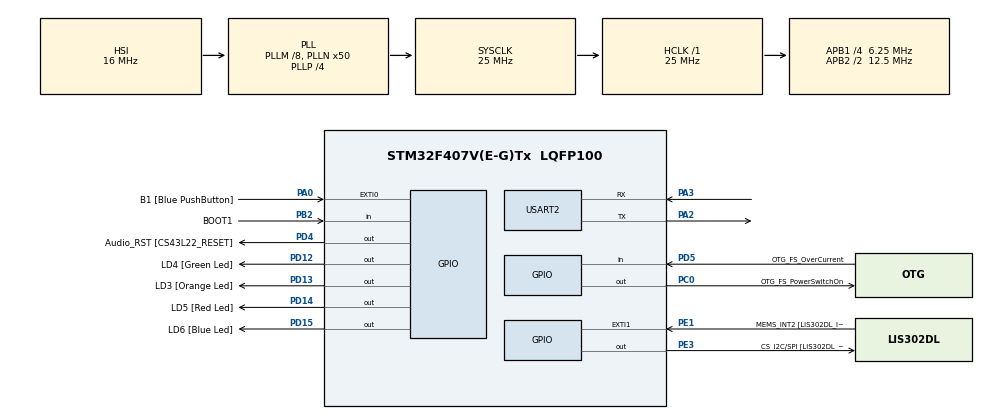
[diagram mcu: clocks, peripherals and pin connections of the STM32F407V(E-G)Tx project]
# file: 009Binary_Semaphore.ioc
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Mcu.Family=STM32F4
Mcu.Name=STM32F407V(E-G)Tx
Mcu.Package=LQFP100
NVIC.PriorityGroup=NVIC_PRIORITYGROUP_4
NVIC.TIM6_DAC_IRQn=true\:0\:0\:false\:false\:true\:false\:true\:true
NVIC.TimeBase=TIM6_DAC_IRQn
NVIC.TimeBaseIP=TIM6
PA0-WKUP.GPIO_Label=B1 [Blue PushButton]
PA0-WKUP.Signal=GPXTI0
PA10.GPIO_Label=OTG_FS_ID
PA10.GPIO_Mode=GPIO_MODE_AF_PP
PA10.GPIO_PuPd=GPIO_NOPULL
PA10.GPIO_Speed=GPIO_SPEED_FREQ_LOW
PA10.Signal=USB_OTG_FS_ID
PA11.GPIO_Label=OTG_FS_DM
PA11.GPIO_Mode=GPIO_MODE_AF_PP
PA11.GPIO_PuPd=GPIO_NOPULL
PA11.GPIO_Speed=GPIO_SPEED_FREQ_LOW
PA11.Signal=USB_OTG_FS_DM
PA12.GPIO_Label=OTG_FS_DP
PA12.GPIO_Mode=GPIO_MODE_AF_PP
PA12.GPIO_PuPd=GPIO_NOPULL
PA12.GPIO_Speed=GPIO_SPEED_FREQ_LOW
PA12.Signal=USB_OTG_FS_DP
PA13.GPIO_Label=SWDIO
PA13.Signal=SYS_JTMS-SWDIO
PA14.GPIO_Label=SWCLK
PA14.Signal=SYS_JTCK-SWCLK
PA2.Mode=Asynchronous
PA2.Signal=USART2_TX
PA3.Mode=Asynchronous
PA3.Signal=USART2_RX
PA4.GPIO_Label=I2S3_WS [CS43L22_LRCK]
PA4.GPIO_Mode=GPIO_MODE_AF_PP
PA4.GPIO_PuPd=GPIO_NOPULL
PA4.GPIO_Speed=GPIO_SPEED_FREQ_LOW
PA4.Signal=I2S3_WS
PA5.GPIO_Label=SPI1_SCK [LIS302DL_SCL/SPC]
PA5.GPIO_Mode=GPIO_MODE_AF_PP
PA5.GPIO_PuPd=GPIO_NOPULL
PA5.GPIO_Speed=GPIO_SPEED_FREQ_LOW
PA5.Signal=SPI1_SCK
PA6.GPIO_Label=SPI1_MISO [LIS302DL_SDO]
PA6.GPIO_Mode=GPIO_MODE_AF_PP
PA6.GPIO_PuPd=GPIO_NOPULL
PA6.GPIO_Speed=GPIO_SPEED_FREQ_LOW
PA6.Signal=SPI1_MISO
PA7.GPIO_Label=SPI1_MOSI [LIS302DL_SDA/SDI/SDO]
PA7.GPIO_Mode=GPIO_MODE_AF_PP
PA7.GPIO_PuPd=GPIO_NOPULL
PA7.GPIO_Speed=GPIO_SPEED_FREQ_LOW
PA7.Signal=SPI1_MOSI
PA9.GPIO_Label=VBUS_FS
PA9.GPIO_Mode=GPIO_MODE_INPUT
PA9.GPIO_PuPd=GPIO_NOPULL
PA9.Signal=USB_OTG_FS_VBUS
PB10.GPIO_Label=CLK_IN [MP45DT02_CLK]
PB10.GPIO_Mode=GPIO_MODE_AF_PP
PB10.GPIO_PuPd=GPIO_NOPULL
PB10.GPIO_Speed=GPIO_SPEED_FREQ_LOW
PB10.Signal=I2S2_CK
PB2.GPIO_Label=BOOT1
PB2.GPIO_Mode=GPIO_MODE_INPUT
PB2.GPIO_PuPd=GPIO_NOPULL
PB2.Signal=GPIO_Input
PB3.GPIO_Label=SWO
PB3.Signal=SYS_JTDO-SWO
PB6.GPIO_Label=Audio_SCL [CS43L22_SCL]
PB6.GPIO_Mode=GPIO_MODE_AF_OD
PB6.GPIO_PuPd=GPIO_NOPULL
PB6.GPIO_Speed=GPIO_SPEED_FREQ_LOW
PB6.Signal=I2C1_SCL
PB9.GPIO_Label=Audio_SDA [CS43L22_SDA]
PB9.GPIO_Mode=GPIO_MODE_AF_OD
PB9.GPIO_PuPd=GPIO_NOPULL
PB9.GPIO_Speed=GPIO_SPEED_FREQ_LOW
PB9.Signal=I2C1_SDA
PC0.GPIO_Label=OTG_FS_PowerSwitchOn
PC0.GPIO_PuPd=GPIO_NOPULL
PC0.GPIO_Speed=GPIO_SPEED_FREQ_LOW
PC0.PinState=GPIO_PIN_SET
PC0.Signal=GPIO_Output
PC10.GPIO_Label=I2S3_SCK [CS43L22_SCLK]
PC10.GPIO_Mode=GPIO_MODE_AF_PP
PC10.GPIO_PuPd=GPIO_NOPULL
PC10.GPIO_Speed=GPIO_SPEED_FREQ_LOW
PC10.Signal=I2S3_CK
PC12.GPIO_Label=I2S3_SD [CS43L22_SDIN]
PC12.GPIO_Mode=GPIO_MODE_AF_PP
PC12.GPIO_PuPd=GPIO_NOPULL
PC12.GPIO_Speed=GPIO_SPEED_FREQ_LOW
PC12.Signal=I2S3_SD
PC14-OSC32_IN.GPIO_Label=PC14-OSC32_IN
PC14-OSC32_IN.Signal=RCC_OSC32_IN
PC15-OSC32_OUT.GPIO_Label=PC15-OSC32_OUT
PC15-OSC32_OUT.Signal=RCC_OSC32_OUT
PC3.GPIO_Label=PDM_OUT [MP45DT02_DOUT]
PC3.GPIO_Mode=GPIO_MODE_AF_PP
PC3.GPIO_PuPd=GPIO_NOPULL
PC3.GPIO_Speed=GPIO_SPEED_FREQ_LOW
PC3.Signal=I2S2_SD
PC7.GPIO_Label=I2S3_MCK [CS43L22_MCLK]
PC7.GPIO_Mode=GPIO_MODE_AF_PP
PC7.GPIO_PuPd=GPIO_NOPULL
PC7.GPIO_Speed=GPIO_SPEED_FREQ_LOW
PC7.Signal=I2S3_MCK
PD12.GPIO_Label=LD4 [Green Led]
PD12.GPIO_PuPd=GPIO_NOPULL
PD12.GPIO_Speed=GPIO_SPEED_FREQ_LOW
PD12.Signal=GPIO_Output
PD13.GPIO_Label=LD3 [Orange Led]
PD13.GPIO_PuPd=GPIO_NOPULL
PD13.GPIO_Speed=GPIO_SPEED_FREQ_LOW
PD13.Signal=GPIO_Output
PD14.GPIO_Label=LD5 [Red Led]
PD14.GPIO_PuPd=GPIO_NOPULL
PD14.GPIO_Speed=GPIO_SPEED_FREQ_LOW
PD14.Signal=GPIO_Output
PD15.GPIO_Label=LD6 [Blue Led]
PD15.GPIO_PuPd=GPIO_NOPULL
PD15.GPIO_Speed=GPIO_SPEED_FREQ_LOW
PD15.Signal=GPIO_Output
PD4.GPIO_Label=Audio_RST [CS43L22_RESET]
PD4.GPIO_PuPd=GPIO_NOPULL
PD4.GPIO_Speed=GPIO_SPEED_FREQ_LOW
PD4.Signal=GPIO_Output
PD5.GPIO_Label=OTG_FS_OverCurrent
PD5.GPIO_Mode=GPIO_MODE_INPUT
PD5.GPIO_PuPd=GPIO_NOPULL
PD5.Signal=GPIO_Input
PE1.GPIO_Label=MEMS_INT2 [LIS302DL_INT2]
PE1.GPIO_ModeDefaultEXTI=GPIO_MODE_EVT_RISING
PE1.GPIO_PuPd=GPIO_NOPULL
PE1.Signal=GPXTI1
PE3.GPIO_Label=CS_I2C/SPI [LIS302DL_CS_I2C/SPI]
PE3.GPIO_PuPd=GPIO_NOPULL
PE3.GPIO_Speed=GPIO_SPEED_FREQ_LOW
PE3.Signal=GPIO_Output
PH0-OSC_IN.GPIO_Label=PH0-OSC_IN
PH0-OSC_IN.Signal=RCC_OSC_IN
PH1-OSC_OUT.GPIO_Label=PH1-OSC_OUT
PH1-OSC_OUT.Signal=RCC_OSC_OUT
ProjectManager.HeapSize=0x200
ProjectManager.StackSize=0x400
ProjectManager.TargetToolchain=STM32CubeIDE
RCC.48MHZClocksFreq_Value=14285714.285714285
RCC.AHBFreq_Value=25000000
RCC.APB1CLKDivider=RCC_HCLK_DIV4
RCC.APB1Freq_Value=6250000
RCC.APB1TimFreq_Value=12500000
RCC.APB2CLKDivider=RCC_HCLK_DIV2
RCC.APB2Freq_Value=12500000
RCC.APB2TimFreq_Value=25000000
RCC.CortexFreq_Value=25000000
RCC.HCLKFreq_Value=25000000
RCC.HSE_VALUE=8000000
RCC.HSI_VALUE=16000000
RCC.LSE_VALUE=32768
RCC.PLLM=8
RCC.PLLN=50
RCC.PLLP=RCC_PLLP_DIV4
RCC.PLLQ=7
RCC.SYSCLKFreq_VALUE=25000000
RCC.SYSCLKSource=RCC_SYSCLKSOURCE_PLLCLK
RCC.VCOOutputFreq_Value=100000000
USART2.VirtualMode=VM_ASYNC
VP_SYS_VS_tim6.Mode=TIM6
board=STM32F407G-DISC1

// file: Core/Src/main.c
/* USER CODE BEGIN Header */
/**
  ******************************************************************************
  * @file           : main.c
  * @brief          : Main program body
  ******************************************************************************
  * @attention
  *
  * Copyright (c) 2024 STMicroelectronics.
  * All rights reserved.
  *
  * This software is licensed under terms that can be found in the LICENSE file
  * in the root directory of this software component.
  * If no LICENSE file comes with this software, it is provided AS-IS.
  *
  ******************************************************************************
  */
/* USER CODE END Header */
#include "main.h"

/* USER CODE BEGIN Includes */
#include "FreeRTOS.h"
#include "task.h"
#include "semphr.h"
#include <stdio.h>
#include "string.h"
/* USER CODE END Includes */

UART_HandleTypeDef huart2;

void SystemClock_Config(void);
static void MX_GPIO_Init(void);
static void MX_USART2_UART_Init(void);
/* USER CODE BEGIN PFP */

static void Task_2_handler(void* parameters);

static void Task_1_handler(void* parameters);
/* USER CODE END PFP */

/* USER CODE BEGIN 0 */
TaskHandle_t task1_handle;
TaskHandle_t task2_handle;

xSemaphoreHandle xBinarySemaphore;

/* USER CODE END 0 */

int main(void)
{
  /* USER CODE BEGIN 1 */
	BaseType_t status;

  /* USER CODE END 1 */

  /* MCU Configuration--------------------------------------------------------*/

  /* Reset of all peripherals, Initializes the Flash interface and the Systick. */
  HAL_Init();

  /* Configure the system clock */
  SystemClock_Config();

  /* Initialize all configured peripherals */
  MX_GPIO_Init();
  MX_USART2_UART_Init();
  /* USER CODE BEGIN 2 */

  xBinarySemaphore = xSemaphoreCreateBinary();
  if(xBinarySemaphore != NULL)
  {
//	  char str1="Semaphore Creation succesfull \n";
//	  HAL_UART_Transmit(&huart2, (uint8_t*)str1, strlen(str1), 100);
	  //  task creation
	  status = xTaskCreate(Task_1_handler,
	                  "Task_1",
	                  200,
	                  NULL,
	                  1,
	                  &task1_handle
	                                );

	  	 configASSERT(status == pdPASS);

	  	 status = xTaskCreate(Task_2_handler,
	                    "Task_2",
	                    200,
	                    NULL,
	                    1,
	                    &task2_handle
	                                  );

	  	 configASSERT(status == pdPASS);

	  	 xSemaphoreGive(xBinarySemaphore);

	  	 vTaskStartScheduler();

  }
  else
  {
//	  char str1 = "failed \n";
//	  HAL_UART_Transmit(&huart2, (uint8_t*)str1, strlen(str1), 100);

  }

  /* USER CODE END 2 */

  /* Infinite loop */
  while (1)
  {

  }
}

void SystemClock_Config(void)
{
  RCC_OscInitTypeDef RCC_OscInitStruct = {0};
  RCC_ClkInitTypeDef RCC_ClkInitStruct = {0};

  /** Configure the main internal regulator output voltage
  */
  __HAL_RCC_PWR_CLK_ENABLE();
  __HAL_PWR_VOLTAGESCALING_CONFIG(PWR_REGULATOR_VOLTAGE_SCALE1);

  /** Initializes the RCC Oscillators according to the specified parameters
  * in the RCC_OscInitTypeDef structure.
  */
  RCC_OscInitStruct.OscillatorType = RCC_OSCILLATORTYPE_HSI;
  RCC_OscInitStruct.HSIState = RCC_HSI_ON;
  RCC_OscInitStruct.HSICalibrationValue = RCC_HSICALIBRATION_DEFAULT;
  RCC_OscInitStruct.PLL.PLLState = RCC_PLL_ON;
  RCC_OscInitStruct.PLL.PLLSource = RCC_PLLSOURCE_HSI;
  RCC_OscInitStruct.PLL.PLLM = 8;
  RCC_OscInitStruct.PLL.PLLN = 50;
  RCC_OscInitStruct.PLL.PLLP = RCC_PLLP_DIV4;
  RCC_OscInitStruct.PLL.PLLQ = 7;
  if (HAL_RCC_OscConfig(&RCC_OscInitStruct) != HAL_OK)
  {
    Error_Handler();
  }

  /** Initializes the CPU, AHB and APB buses clocks
  */
  RCC_ClkInitStruct.ClockType = RCC_CLOCKTYPE_HCLK|RCC_CLOCKTYPE_SYSCLK
                              |RCC_CLOCKTYPE_PCLK1|RCC_CLOCKTYPE_PCLK2;
  RCC_ClkInitStruct.SYSCLKSource = RCC_SYSCLKSOURCE_PLLCLK;
  RCC_ClkInitStruct.AHBCLKDivider = RCC_SYSCLK_DIV1;
  RCC_ClkInitStruct.APB1CLKDivider = RCC_HCLK_DIV4;
  RCC_ClkInitStruct.APB2CLKDivider = RCC_HCLK_DIV2;

  if (HAL_RCC_ClockConfig(&RCC_ClkInitStruct, FLASH_LATENCY_0) != HAL_OK)
  {
    Error_Handler();
  }
}

static void MX_USART2_UART_Init(void)
{

  huart2.Instance = USART2;
  huart2.Init.BaudRate = 115200;
  huart2.Init.WordLength = UART_WORDLENGTH_8B;
  huart2.Init.StopBits = UART_STOPBITS_1;
  huart2.Init.Parity = UART_PARITY_NONE;
  huart2.Init.Mode = UART_MODE_TX_RX;
  huart2.Init.HwFlowCtl = UART_HWCONTROL_NONE;
  huart2.Init.OverSampling = UART_OVERSAMPLING_16;
  if (HAL_UART_Init(&huart2) != HAL_OK)
  {
    Error_Handler();
  }

}

static void MX_GPIO_Init(void)
{
  GPIO_InitTypeDef GPIO_InitStruct = {0};

  /* GPIO Ports Clock Enable */
  __HAL_RCC_GPIOE_CLK_ENABLE();
  __HAL_RCC_GPIOC_CLK_ENABLE();
  __HAL_RCC_GPIOH_CLK_ENABLE();
  __HAL_RCC_GPIOA_CLK_ENABLE();
  __HAL_RCC_GPIOB_CLK_ENABLE();
  __HAL_RCC_GPIOD_CLK_ENABLE();

  /*Configure GPIO pin Output Level */
  HAL_GPIO_WritePin(CS_I2C_SPI_GPIO_Port, CS_I2C_SPI_Pin, GPIO_PIN_RESET);

  /*Configure GPIO pin Output Level */
  HAL_GPIO_WritePin(OTG_FS_PowerSwitchOn_GPIO_Port, OTG_FS_PowerSwitchOn_Pin, GPIO_PIN_SET);

  /*Configure GPIO pin Output Level */
  HAL_GPIO_WritePin(GPIOD, LD4_Pin|LD3_Pin|LD5_Pin|LD6_Pin
                          |Audio_RST_Pin, GPIO_PIN_RESET);

  /*Configure GPIO pin : CS_I2C_SPI_Pin */
  GPIO_InitStruct.Pin = CS_I2C_SPI_Pin;
  GPIO_InitStruct.Mode = GPIO_MODE_OUTPUT_PP;
  GPIO_InitStruct.Pull = GPIO_NOPULL;
  GPIO_InitStruct.Speed = GPIO_SPEED_FREQ_LOW;
  HAL_GPIO_Init(CS_I2C_SPI_GPIO_Port, &GPIO_InitStruct);

  /*Configure GPIO pin : OTG_FS_PowerSwitchOn_Pin */
  GPIO_InitStruct.Pin = OTG_FS_PowerSwitchOn_Pin;
  GPIO_InitStruct.Mode = GPIO_MODE_OUTPUT_PP;
  GPIO_InitStruct.Pull = GPIO_NOPULL;
  GPIO_InitStruct.Speed = GPIO_SPEED_FREQ_LOW;
  HAL_GPIO_Init(OTG_FS_PowerSwitchOn_GPIO_Port, &GPIO_InitStruct);

  /*Configure GPIO pin : PDM_OUT_Pin */
  GPIO_InitStruct.Pin = PDM_OUT_Pin;
  GPIO_InitStruct.Mode = GPIO_MODE_AF_PP;
  GPIO_InitStruct.Pull = GPIO_NOPULL;
  GPIO_InitStruct.Speed = GPIO_SPEED_FREQ_LOW;
  GPIO_InitStruct.Alternate = GPIO_AF5_SPI2;
  HAL_GPIO_Init(PDM_OUT_GPIO_Port, &GPIO_InitStruct);

  /*Configure GPIO pin : B1_Pin */
  GPIO_InitStruct.Pin = B1_Pin;
  GPIO_InitStruct.Mode = GPIO_MODE_IT_RISING;
  GPIO_InitStruct.Pull = GPIO_NOPULL;
  HAL_GPIO_Init(B1_GPIO_Port, &GPIO_InitStruct);

  /*Configure GPIO pin : I2S3_WS_Pin */
  GPIO_InitStruct.Pin = I2S3_WS_Pin;
  GPIO_InitStruct.Mode = GPIO_MODE_AF_PP;
  GPIO_InitStruct.Pull = GPIO_NOPULL;
  GPIO_InitStruct.Speed = GPIO_SPEED_FREQ_LOW;
  GPIO_InitStruct.Alternate = GPIO_AF6_SPI3;
  HAL_GPIO_Init(I2S3_WS_GPIO_Port, &GPIO_InitStruct);

  /*Configure GPIO pins : SPI1_SCK_Pin SPI1_MISO_Pin SPI1_MOSI_Pin */
  GPIO_InitStruct.Pin = SPI1_SCK_Pin|SPI1_MISO_Pin|SPI1_MOSI_Pin;
  GPIO_InitStruct.Mode = GPIO_MODE_AF_PP;
  GPIO_InitStruct.Pull = GPIO_NOPULL;
  GPIO_InitStruct.Speed = GPIO_SPEED_FREQ_LOW;
  GPIO_InitStruct.Alternate = GPIO_AF5_SPI1;
  HAL_GPIO_Init(GPIOA, &GPIO_InitStruct);

  /*Configure GPIO pin : BOOT1_Pin */
  GPIO_InitStruct.Pin = BOOT1_Pin;
  GPIO_InitStruct.Mode = GPIO_MODE_INPUT;
  GPIO_InitStruct.Pull = GPIO_NOPULL;
  HAL_GPIO_Init(BOOT1_GPIO_Port, &GPIO_InitStruct);

  /*Configure GPIO pin : CLK_IN_Pin */
  GPIO_InitStruct.Pin = CLK_IN_Pin;
  GPIO_InitStruct.Mode = GPIO_MODE_AF_PP;
  GPIO_InitStruct.Pull = GPIO_NOPULL;
  GPIO_InitStruct.Speed = GPIO_SPEED_FREQ_LOW;
  GPIO_InitStruct.Alternate = GPIO_AF5_SPI2;
  HAL_GPIO_Init(CLK_IN_GPIO_Port, &GPIO_InitStruct);

  /*Configure GPIO pins : LD4_Pin LD3_Pin LD5_Pin LD6_Pin
                           Audio_RST_Pin */
  GPIO_InitStruct.Pin = LD4_Pin|LD3_Pin|LD5_Pin|LD6_Pin
                          |Audio_RST_Pin;
  GPIO_InitStruct.Mode = GPIO_MODE_OUTPUT_PP;
  GPIO_InitStruct.Pull = GPIO_NOPULL;
  GPIO_InitStruct.Speed = GPIO_SPEED_FREQ_LOW;
  HAL_GPIO_Init(GPIOD, &GPIO_InitStruct);

  /*Configure GPIO pins : I2S3_MCK_Pin I2S3_SCK_Pin I2S3_SD_Pin */
  GPIO_InitStruct.Pin = I2S3_MCK_Pin|I2S3_SCK_Pin|I2S3_SD_Pin;
  GPIO_InitStruct.Mode = GPIO_MODE_AF_PP;
  GPIO_InitStruct.Pull = GPIO_NOPULL;
  GPIO_InitStruct.Speed = GPIO_SPEED_FREQ_LOW;
  GPIO_InitStruct.Alternate = GPIO_AF6_SPI3;
  HAL_GPIO_Init(GPIOC, &GPIO_InitStruct);

  /*Configure GPIO pin : VBUS_FS_Pin */
  GPIO_InitStruct.Pin = VBUS_FS_Pin;
  GPIO_InitStruct.Mode = GPIO_MODE_INPUT;
  GPIO_InitStruct.Pull = GPIO_NOPULL;
  HAL_GPIO_Init(VBUS_FS_GPIO_Port, &GPIO_InitStruct);

  /*Configure GPIO pins : OTG_FS_ID_Pin OTG_FS_DM_Pin OTG_FS_DP_Pin */
  GPIO_InitStruct.Pin = OTG_FS_ID_Pin|OTG_FS_DM_Pin|OTG_FS_DP_Pin;
  GPIO_InitStruct.Mode = GPIO_MODE_AF_PP;
  GPIO_InitStruct.Pull = GPIO_NOPULL;
  GPIO_InitStruct.Speed = GPIO_SPEED_FREQ_LOW;
  GPIO_InitStruct.Alternate = GPIO_AF10_OTG_FS;
  HAL_GPIO_Init(GPIOA, &GPIO_InitStruct);

  /*Configure GPIO pin : OTG_FS_OverCurrent_Pin */
  GPIO_InitStruct.Pin = OTG_FS_OverCurrent_Pin;
  GPIO_InitStruct.Mode = GPIO_MODE_INPUT;
  GPIO_InitStruct.Pull = GPIO_NOPULL;
  HAL_GPIO_Init(OTG_FS_OverCurrent_GPIO_Port, &GPIO_InitStruct);

  /*Configure GPIO pins : Audio_SCL_Pin Audio_SDA_Pin */
  GPIO_InitStruct.Pin = Audio_SCL_Pin|Audio_SDA_Pin;
  GPIO_InitStruct.Mode = GPIO_MODE_AF_OD;
  GPIO_InitStruct.Pull = GPIO_NOPULL;
  GPIO_InitStruct.Speed = GPIO_SPEED_FREQ_LOW;
  GPIO_InitStruct.Alternate = GPIO_AF4_I2C1;
  HAL_GPIO_Init(GPIOB, &GPIO_InitStruct);

  /*Configure GPIO pin : MEMS_INT2_Pin */
  GPIO_InitStruct.Pin = MEMS_INT2_Pin;
  GPIO_InitStruct.Mode = GPIO_MODE_EVT_RISING;
  GPIO_InitStruct.Pull = GPIO_NOPULL;
  HAL_GPIO_Init(MEMS_INT2_GPIO_Port, &GPIO_InitStruct);

}

/* USER CODE BEGIN 4 */

static void Task_1_handler(void* parameters)
{
	while(1)
	{
		xSemaphoreTake( xBinarySemaphore, portMAX_DELAY );

		char str3 ="Inside Task 1";
		HAL_UART_Transmit(&huart2, (uint8_t*)str3, strlen(str3), 100);

		xSemaphoreGive(xBinarySemaphore);

		vTaskDelay( pdMS_TO_TICKS(500));
	}
}

static void Task_2_handler(void* parameters)
{
	while(1)
	{
		xSemaphoreTake( xBinarySemaphore, portMAX_DELAY );

		char str2 ="Inside Task 2";
		HAL_UART_Transmit(&huart2, (uint8_t*)str2, strlen(str2), 500);

		xSemaphoreGive(xBinarySemaphore);
	}
}

/* USER CODE END 4 */

void HAL_TIM_PeriodElapsedCallback(TIM_HandleTypeDef *htim)
{
  if (htim->Instance == TIM6) {
    HAL_IncTick();
  }
}

void Error_Handler(void)
{
  __disable_irq();
  while (1)
  {
  }
}
